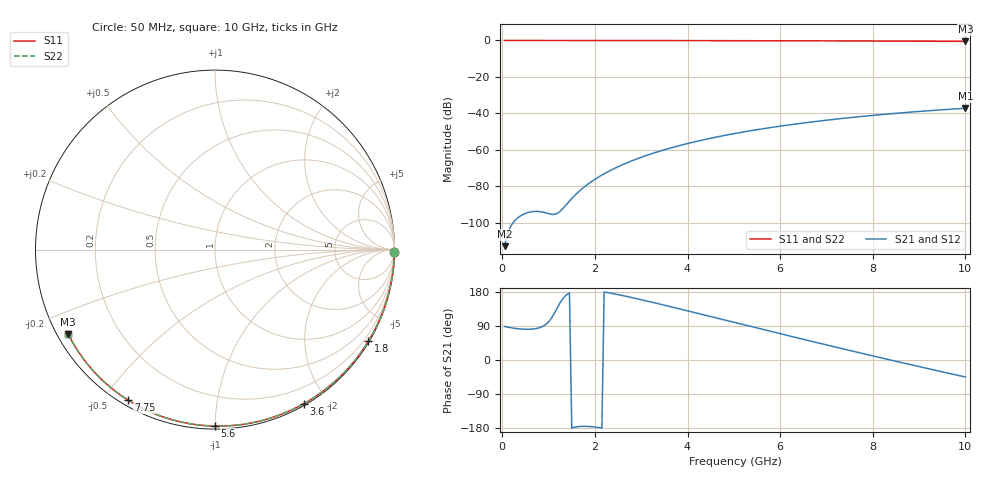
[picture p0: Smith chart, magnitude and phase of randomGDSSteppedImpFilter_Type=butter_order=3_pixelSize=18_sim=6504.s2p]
! freq	dB(S11)	phase(S11)	dB(S12)	phase(S12)
!  dB(S21)	phase(S21)	dB(S22)	phase(S22)
!S-par simulation data
#  GHz  S  DB  R 50
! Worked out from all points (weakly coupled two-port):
!   200 points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, 50 MHz to 10 GHz, reference 50 ohm
!   highest |S21| = -37.16 dB at 10 GHz (marker M1); lowest = -112.8 dB at 50 MHz (marker M2)
!   lowest |S11| = -0.5 dB at 10 GHz (marker M3), VSWR 34.44, Z = 1.56 - j13.3 ohm
!   |S11| at or under -10 dB: nowhere
!   |S22| runs from -0.5 to 0.0 dB; largest |S21 - S12| = 0
!   S11 on the Smith chart (normalised r, x): 50 MHz: open; 1.8 GHz: 0.03, -3.63; 3.6 GHz: 0.02, -1.73; 5.6 GHz: 0.02, -1.00; 7.75 GHz: 0.02, -0.58; 10 GHz: 0.03, -0.27
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0.05  -0.00 -0.9  -112.78 88.6  -112.78 88.6  -0.00 -0.9
0.45  -0.01 -7.8  -95.37 81.3  -95.37 81.3  -0.01 -7.8
0.9  -0.02 -15.6  -94.26 90.6  -94.26 90.6  -0.02 -15.6
1.3  -0.03 -22.4  -92.38 160.6  -92.38 160.6  -0.03 -22.4
1.75  -0.04 -30.0  -80.72 -174.9  -80.72 -174.9  -0.04 -30.0
1.8  -0.04 -30.8  -79.71 -175.0  -79.71 -175.0  -0.04 -30.8
1.95  -0.04 -33.3  -76.96 -176.2  -76.96 -176.2  -0.04 -33.3
2.1  -0.05 -35.8  -74.55 -178.5  -74.55 -178.5  -0.05 -35.8
2.3  -0.05 -39.1  -71.71 177.4  -71.71 177.4  -0.05 -39.1
2.5  -0.05 -42.4  -69.22 172.6  -69.22 172.6  -0.05 -42.4
2.9  -0.06 -48.9  -64.98 162.0  -64.98 162.0  -0.06 -48.9
3.4  -0.08 -56.9  -60.68 147.6  -60.68 147.6  -0.08 -56.9
3.6  -0.08 -60.1  -59.19 141.7  -59.19 141.7  -0.08 -60.1
4.3  -0.10 -70.9  -54.72 120.6  -54.72 120.6  -0.10 -70.9
5.05  -0.13 -82.1  -50.87 97.9  -50.87 97.9  -0.13 -82.1
5.6  -0.15 -90.1  -48.51 81.4  -48.51 81.4  -0.15 -90.1
6.15  -0.17 -98.0  -46.44 64.9  -46.44 64.9  -0.17 -98.0
6.7  -0.20 -105.6  -44.62 48.6  -44.62 48.6  -0.20 -105.7
7.75  -0.28 -119.9  -41.68 18.0  -41.68 18.0  -0.28 -120.0
8.35  -0.33 -128.0  -40.27 0.9  -40.27 0.9  -0.33 -128.0
9.2  -0.41 -139.3  -38.53 -23.0  -38.53 -23.0  -0.41 -139.4
10  -0.50 -150.1  -37.16 -44.9  -37.16 -44.9  -0.50 -150.1
